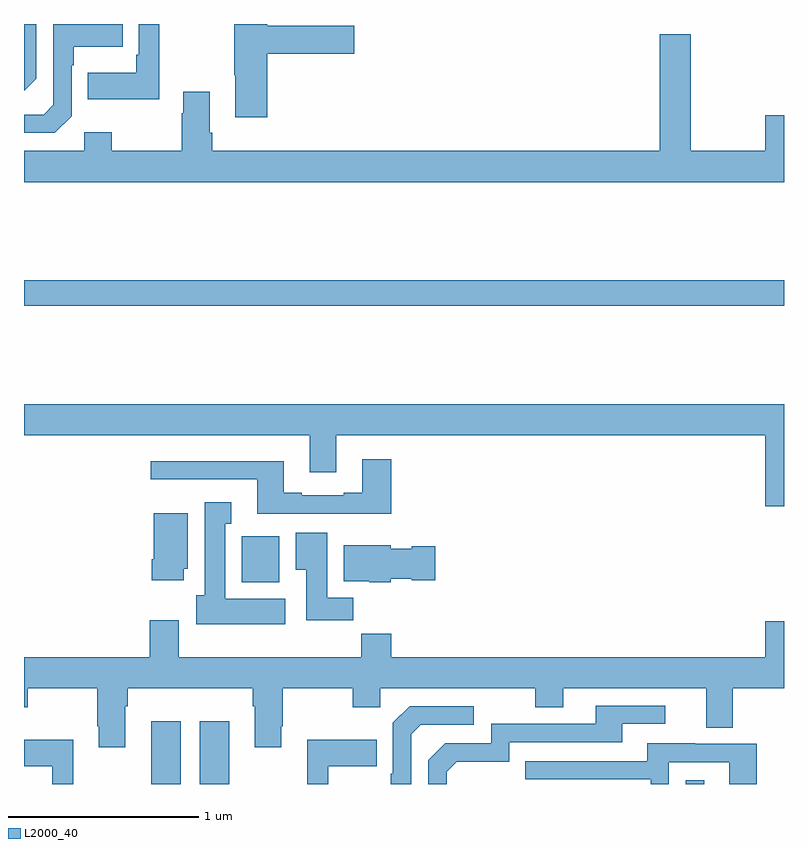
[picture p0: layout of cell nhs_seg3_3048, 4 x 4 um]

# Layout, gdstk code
import gdstk
lib = gdstk.Library(unit=1e-6, precision=1e-09)
def R(c, l, rs):  # rectangles x0, y0, x1, y1
    for r in rs: c.add(gdstk.rectangle(r[:2], r[2:], *l))
def P(c, l, *ps):  # polygons
    for p in ps: c.add(gdstk.Polygon(p, *l))
L2000_40 = (2000, 40)

nhs_seg3_3048 = lib.new_cell('nhs_seg3_3048')
R(nhs_seg3_3048, L2000_40, [(269.669,712.4,269.824,712.729), (269.924,712.4,270.079,712.729), (272.484,712.4,272.581,712.42), (270.146,713.462,270.343,713.704), (269,714.916,273,715.052)])
P(nhs_seg3_3048, L2000_40, [(270.281,716.243),(270.739,716.243),(270.739,716.39),(270.281,716.39),(270.281,716.4),(270.106,716.4),(270.106,716.131),(270.113,716.131),(270.113,715.908),(270.281,715.908)],
  [(269.713,716.4),(269.604,716.4),(269.604,716.239),(269.592,716.239),(269.592,716.143),(269.335,716.143),(269.335,716.003),(269.713,716.003)],
  [(269.064,716.112),(269.064,716.4),(269,716.4),(269,716.048)],
  [(269.25,715.914),(269.25,716.183),(269.263,716.183),(269.263,716.279),(269.519,716.279),(269.519,716.4),(269.154,716.4),(269.154,715.974),(269.103,715.923),(269,715.923),(269,715.827),(269.163,715.827)],
  [(273,715.921),(272.9,715.921),(272.9,715.732),(272.509,715.732),(272.509,716.347),(272.345,716.347),(272.345,715.732),(269.99,715.732),(269.99,715.828),(269.977,715.828),(269.977,716.044),(269.837,716.044),(269.837,715.931),(269.83,715.931),(269.83,715.732),(269.463,715.732),(269.463,715.831),(269.316,715.831),(269.316,715.732),(269,715.732),(269,715.568),(273,715.568)],
  [(273,714.4),(269,714.4),(269,714.236),(270.503,714.236),(270.503,714.042),(270.643,714.042),(270.643,714.236),(272.9,714.236),(272.9,713.862),(273,713.862)],
  [(270.932,714.109),(270.779,714.109),(270.779,713.932),(270.683,713.932),(270.683,713.919),(270.463,713.919),(270.463,713.932),(270.367,713.932),(270.367,714.1),(269.667,714.1),(269.667,714.003),(270.227,714.003),(270.227,713.823),(270.691,713.823),(270.691,713.822),(270.932,713.822)],
  [(270.376,713.374),(270.058,713.374),(270.058,713.771),(270.091,713.771),(270.091,713.884),(269.951,713.884),(269.951,713.394),(269.906,713.394),(269.906,713.24),(270.376,713.24)],
  [(269.842,713.532),(269.863,713.532),(269.863,713.824),(269.684,713.824),(269.684,713.584),(269.672,713.584),(269.672,713.472),(269.842,713.472)],
  [(270.734,713.38),(270.595,713.38),(270.595,713.722),(270.431,713.722),(270.431,713.528),(270.485,713.528),(270.485,713.262),(270.734,713.262)],
  [(270.93,713.48),(271.041,713.48),(271.041,713.473),(271.165,713.473),(271.165,713.651),(271.041,713.651),(271.041,713.638),(270.93,713.638),(270.93,713.656),(270.683,713.656),(270.683,713.468),(270.816,713.468),(270.816,713.462),(270.93,713.462)],
  [(270.932,713.192),(270.775,713.192),(270.775,713.068),(269.815,713.068),(269.815,713.263),(269.663,713.263),(269.663,713.068),(269,713.068),(269,712.805),(269.019,712.805),(269.019,712.904),(269.386,712.904),(269.386,712.705),(269.393,712.705),(269.393,712.593),(269.533,712.593),(269.533,712.808),(269.546,712.808),(269.546,712.904),(270.203,712.904),(270.203,712.808),(270.215,712.808),(270.215,712.593),(270.355,712.593),(270.355,712.705),(270.363,712.705),(270.363,712.904),(270.73,712.904),(270.73,712.805),(270.876,712.805),(270.876,712.904),(271.69,712.904),(271.69,712.805),(271.837,712.805),(271.837,712.904),(272.591,712.904),(272.591,712.696),(272.731,712.696),(272.731,712.904),(273,712.904),(273,713.257),(272.9,713.257),(272.9,713.068),(270.932,713.068)],
  [(271.224,712.464),(271.277,712.517),(271.554,712.517),(271.554,712.62),(272.149,712.62),(272.149,712.716),(272.374,712.716),(272.374,712.812),(272.009,712.812),(272.009,712.716),(271.458,712.716),(271.458,712.614),(271.218,712.614),(271.128,712.524),(271.128,712.4),(271.224,712.4)],
  [(271.038,712.662),(271.089,712.713),(271.366,712.713),(271.366,712.809),(271.029,712.809),(270.942,712.722),(270.942,712.453),(270.93,712.453),(270.93,712.4),(271.038,712.4)],
  [(270.601,712.493),(270.857,712.493),(270.857,712.633),(270.491,712.633),(270.491,712.4),(270.601,712.4)],
  [(269.258,712.633),(269,712.633),(269,712.493),(269.148,712.493),(269.148,712.4),(269.258,712.4)],
  [(272.394,712.515),(272.712,712.515),(272.712,712.4),(272.857,712.4),(272.857,712.611),(272.533,712.611),(272.533,712.615),(272.279,712.615),(272.279,712.521),(271.639,712.521),(271.639,712.425),(272.298,712.425),(272.298,712.4),(272.394,712.4)])

lib.write_gds('nhs_seg3_3048.gds')
